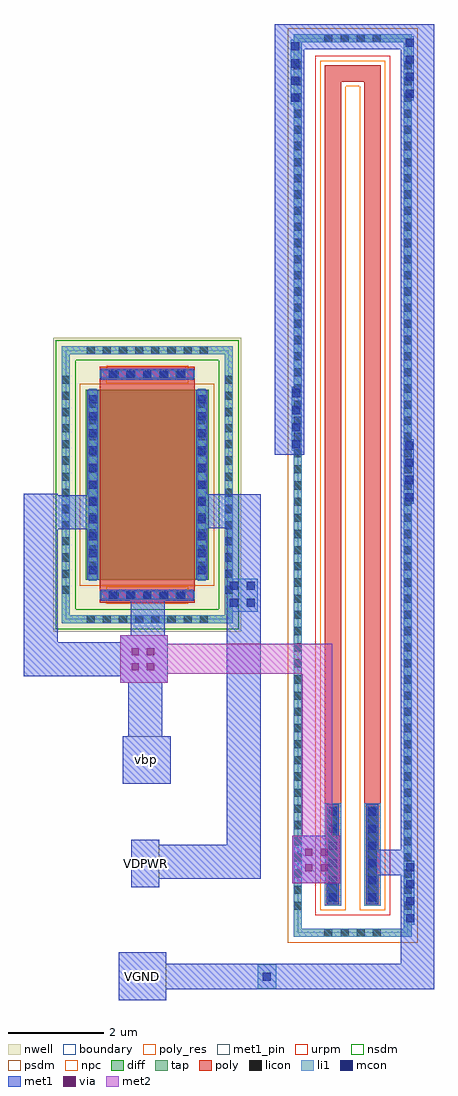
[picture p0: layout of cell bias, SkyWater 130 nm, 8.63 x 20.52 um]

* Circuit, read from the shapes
.subckt bias VDPWR VGND vbp
XM1 VDPWR vbp vbp VDPWR sky130_fd_pr__pfet_01v8 w=4 l=2
XR2 vbp VGND VGND sky130_fd_pr__res_xhigh_po w=0.35 l=31.56
.ends

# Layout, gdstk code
import gdstk
lib = gdstk.Library(unit=1e-6, precision=1e-09)
def R(c, l, rs):  # rectangles x0, y0, x1, y1
    for r in rs: c.add(gdstk.rectangle(r[:2], r[2:], *l))
def A(c, l, x, y, w, h, nx, ny, dx, dy):  # array of equal rectangles
    R(c, l, [(x+i*dx, y+j*dy, x+i*dx+w, y+j*dy+h) for i in range(nx) for j in range(ny)])
nwell = (64, 20)
diff = (65, 20)
tap = (65, 44)
poly_res = (66, 13)
poly = (66, 20)
licon = (66, 44)
li1 = (67, 20)
mcon = (67, 44)
met1_pin = (68, 16)
met1 = (68, 20)
via = (68, 44)
met2 = (69, 20)
urpm = (79, 20)
nsdm = (93, 44)
psdm = (94, 20)
npc = (95, 20)
boundary = (235, 4)

sky130_fd_pr__res_xhigh_ = lib.new_cell('sky130_fd_pr__res_xhigh_po_0p35_F4YSJB')
R(sky130_fd_pr__res_xhigh_, tap, [(-1.24,-9.49,1.24,-9.32), (-1.24,-9.32,-1.07,9.32), (1.07,-9.32,1.24,9.32), (-1.24,9.32,1.24,9.49)])
R(sky130_fd_pr__res_xhigh_, poly_res, [(-0.59,-6.76,-0.24,8.49), (0.24,-6.76,0.59,8.49), (-0.59,8.49,0.59,8.84)])
R(sky130_fd_pr__res_xhigh_, poly, [(-0.59,-8.84,-0.24,8.49), (0.24,-8.84,0.59,8.49), (-0.59,8.49,0.59,8.84)])
A(sky130_fd_pr__res_xhigh_, licon, -0.595, -9.49, 0.17, 0.17, 4, 2, 0.34, 18.81)
A(sky130_fd_pr__res_xhigh_, licon, -1.24, -8.925, 0.17, 0.17, 1, 53, 0, 0.34)
A(sky130_fd_pr__res_xhigh_, licon, 1.07, -8.925, 0.17, 0.17, 1, 53, 0, 0.34)
R(sky130_fd_pr__res_xhigh_, licon, [(-0.51,-8.76,-0.32,-6.76), (0.32,-8.76,0.51,-6.76)])
R(sky130_fd_pr__res_xhigh_, li1, [(-1.24,-9.49,1.24,-9.32), (-1.24,-9.32,-1.07,9.32), (1.07,-9.32,1.24,9.32), (-0.59,-8.84,-0.24,-6.68), (0.24,-8.84,0.59,-6.68), (-1.24,9.32,1.24,9.49)])
A(sky130_fd_pr__res_xhigh_, mcon, -0.5, -8.745, 0.17, 0.17, 1, 6, 0, 0.36)
A(sky130_fd_pr__res_xhigh_, mcon, 0.33, -8.745, 0.17, 0.17, 1, 6, 0, 0.36)
R(sky130_fd_pr__res_xhigh_, met1, [(-0.54,-8.81,-0.29,-6.705), (0.29,-8.81,0.54,-6.705)])
R(sky130_fd_pr__res_xhigh_, urpm, [(-0.79,-9.04,0.79,9.04)])
R(sky130_fd_pr__res_xhigh_, psdm, [(-1.365,-9.615,1.365,9.615)])
R(sky130_fd_pr__res_xhigh_, npc, [(-0.685,-8.935,-0.145,8.395), (0.145,-8.935,0.685,8.395), (-0.685,8.395,0.685,8.935)])
R(sky130_fd_pr__res_xhigh_, boundary, [(-1.155,-9.405,1.155,9.405)])
sky130_fd_pr__res_xhigh_.add(gdstk.Label('R2', (0.415,-8.665), layer=67, texttype=5))
sky130_fd_pr__res_xhigh_.add(gdstk.Label('R1', (-0.415,-8.665), layer=67, texttype=5))
sky130_fd_pr__res_xhigh_.add(gdstk.Label('B', (0,-9.405), layer=67, texttype=5))

sky130_fd_pr__pfet_01v8_ = lib.new_cell('sky130_fd_pr__pfet_01v8_BNUP93')
R(sky130_fd_pr__pfet_01v8_, nwell, [(-1.98,-3.095,1.98,3.095)])
R(sky130_fd_pr__pfet_01v8_, diff, [(-1.29,-2,1.29,2)])
R(sky130_fd_pr__pfet_01v8_, tap, [(-1.8,-2.915,1.8,-2.745), (-1.8,-2.745,-1.63,2.745), (1.63,-2.745,1.8,2.745), (-1.8,2.745,1.8,2.915)])
R(sky130_fd_pr__pfet_01v8_, poly, [(-1,-2.485,1,2.485)])
A(sky130_fd_pr__pfet_01v8_, licon, -1.275, -2.915, 0.17, 0.17, 8, 2, 0.34, 5.66)
A(sky130_fd_pr__pfet_01v8_, licon, -0.765, -2.405, 0.17, 0.17, 5, 2, 0.34, 4.64)
A(sky130_fd_pr__pfet_01v8_, licon, -1.8, -2.295, 0.17, 0.17, 1, 14, 0, 0.34)
A(sky130_fd_pr__pfet_01v8_, licon, 1.63, -2.295, 0.17, 0.17, 1, 14, 0, 0.34)
A(sky130_fd_pr__pfet_01v8_, licon, -1.23, -1.785, 0.17, 0.17, 1, 11, 0, 0.34)
A(sky130_fd_pr__pfet_01v8_, licon, 1.06, -1.785, 0.17, 0.17, 1, 11, 0, 0.34)
R(sky130_fd_pr__pfet_01v8_, li1, [(-1.8,-2.915,1.8,-2.745), (-1.8,-2.745,-1.63,2.745), (1.63,-2.745,1.8,2.745), (-1,-2.405,1,-2.235), (-1.23,-2.02,-1.06,2.02), (1.06,-2.02,1.23,2.02), (-1,2.235,1,2.405), (-1.8,2.745,1.8,2.915)])
A(sky130_fd_pr__pfet_01v8_, mcon, -0.805, -2.405, 0.17, 0.17, 5, 2, 0.36, 4.64)
A(sky130_fd_pr__pfet_01v8_, mcon, -1.23, -1.885, 0.17, 0.17, 1, 11, 0, 0.36)
A(sky130_fd_pr__pfet_01v8_, mcon, 1.06, -1.885, 0.17, 0.17, 1, 11, 0, 0.36)
R(sky130_fd_pr__pfet_01v8_, met1, [(-0.98,-2.435,0.98,-2.205), (-1.26,-2,-1.03,2), (1.03,-2,1.26,2), (-0.98,2.205,0.98,2.435)])
R(sky130_fd_pr__pfet_01v8_, nsdm, [(-1.925,-3.04,1.925,-2.62), (-1.925,-2.62,-1.505,2.62), (1.505,-2.62,1.925,2.62), (-1.925,2.62,1.925,3.04)])
R(sky130_fd_pr__pfet_01v8_, psdm, [(-1.415,-2.125,1.415,2.125)])
R(sky130_fd_pr__pfet_01v8_, npc, [(-0.865,-2.505,0.865,-2.135), (-0.865,2.135,0.865,2.505)])
R(sky130_fd_pr__pfet_01v8_, boundary, [(-1.715,-2.83,1.715,2.83)])
sky130_fd_pr__pfet_01v8_.add(gdstk.Label('G', (0,2.32), layer=67, texttype=5))
sky130_fd_pr__pfet_01v8_.add(gdstk.Label('S', (1.145,0), layer=67, texttype=5))
sky130_fd_pr__pfet_01v8_.add(gdstk.Label('D', (-1.145,0), layer=67, texttype=5))
sky130_fd_pr__pfet_01v8_.add(gdstk.Label('B', (0,-2.83), layer=67, texttype=5))

bias = lib.new_cell('bias')
R(bias, li1, [(2.86,-3.93,3.25,-3.42), (5.98,-2.59,6.16,-1.24), (2.23,4,2.86,4.69), (5.96,6.27,6.14,7.62), (3.58,7.38,3.76,8.73), (3.56,14.67,3.74,16.02), (5.97,14.75,6.15,16.1)])
A(bias, mcon, 5.985, -2.54, 0.17, 0.17, 1, 4, 0, 0.36)
A(bias, mcon, 5.965, 6.32, 0.17, 0.17, 1, 4, 0, 0.36)
A(bias, mcon, 3.585, 7.43, 0.17, 0.17, 1, 4, 0, 0.36)
A(bias, mcon, 3.565, 14.72, 0.17, 0.17, 1, 4, 0, 0.36)
A(bias, mcon, 5.975, 14.8, 0.17, 0.17, 1, 4, 0, 0.36)
R(bias, mcon, [(2.97,-3.765,3.14,-3.595), (2.275,4.095,2.445,4.265), (2.635,4.095,2.805,4.265), (2.275,4.455,2.445,4.625), (2.635,4.455,2.805,4.625)])
R(bias, met1_pin, [(-0.06,-4.17,0.94,-3.17), (0.2,-1.8,0.79,-0.8), (0.03,0.38,1.03,1.38)])
R(bias, met1, [(-0.06,-4.17,0.94,-3.94), (-0.06,-3.94,6.575,-3.41), (-0.06,-3.41,0.94,-3.17), (5.87,-3.41,6.575,-1.545), (0.2,-1.8,0.79,-1.615), (3.59,-1.72,4.59,-0.72), (0.2,-1.615,2.925,-0.9), (5.175,-1.545,6.575,-1.015), (5.87,-1.015,6.575,15.825), (0.2,-0.9,0.79,-0.8), (2.21,-0.9,2.925,5.75), (0.03,0.38,1.03,1.38), (0.14,1.38,0.855,2.5), (-0.03,2.5,0.97,2.635), (-1.25,2.635,0.97,2.64), (-2.055,2.64,0.97,3.35), (-2.055,3.35,-1.345,5.725), (-0.03,3.35,0.97,3.5), (0.19,3.5,0.905,4.325), (-2.055,5.725,-0.545,6.44), (1.65,5.75,2.925,6.465), (-2.055,6.44,-1.345,6.475), (3.225,7.295,3.755,7.3), (3.225,7.3,3.84,15.825), (3.225,15.825,6.575,16.355)])
R(bias, via, [(3.865,-1.46,4.015,-1.31), (4.185,-1.46,4.335,-1.31), (3.865,-1.14,4.015,-0.99), (4.185,-1.14,4.335,-0.99), (0.215,2.76,0.365,2.91), (0.535,2.76,0.685,2.91), (0.215,3.08,0.365,3.23), (0.535,3.08,0.685,3.23)])
R(bias, met2, [(3.59,-1.72,4.59,-0.72), (3.805,-0.72,4.435,2.69), (-0.03,2.5,0.97,2.69), (-0.03,2.69,4.435,3.32), (-0.03,3.32,0.97,3.5)])
bias.add(gdstk.Reference(sky130_fd_pr__res_xhigh_, (4.86,6.65)))
bias.add(gdstk.Reference(sky130_fd_pr__pfet_01v8_, (0.54,6.665)))
bias.add(gdstk.Label('vbp', (0.53,0.88), layer=68, texttype=5))
bias.add(gdstk.Label('VGND', (0.44,-3.67), layer=68, texttype=5))
bias.add(gdstk.Label('VDPWR', (0.495,-1.3), layer=68, texttype=5))

lib.write_gds('bias.gds')
